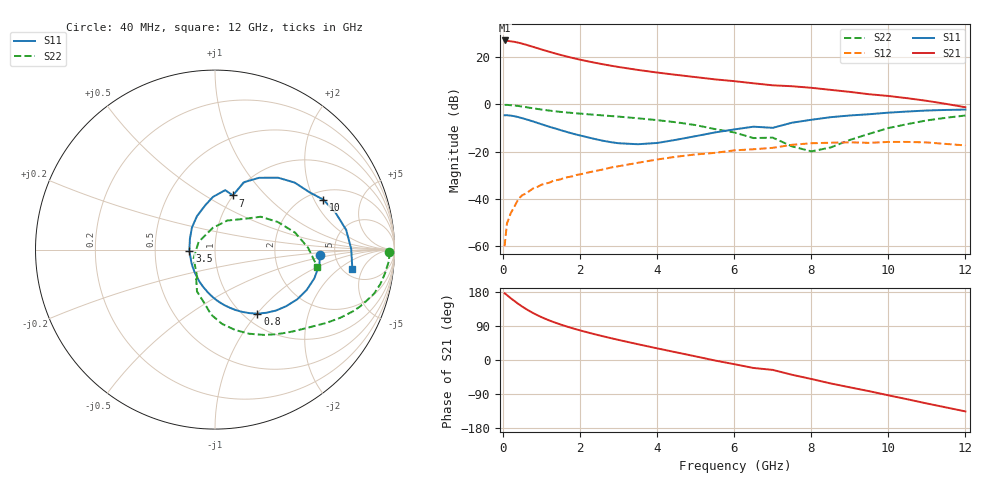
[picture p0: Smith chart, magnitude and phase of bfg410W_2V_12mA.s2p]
! Filename: 212bfg410.001
! BFG410W Field B1
! V1=8.820E-001V,V2=2.000E+000V, I1=1.910E-004A, I2=1.201E-002A
# GHz  S  MA  R 50
!  S11  S21  S12  S22
!Freq(GHz)  Mag  Ang  Mag  Ang  Mag  Ang  Mag  Ang
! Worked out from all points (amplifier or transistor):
!   44 points, 40 MHz to 12 GHz, reference 50 ohm
!   highest |S21| = 27.0 dB at 40 MHz (marker M1)
!   |S21| within 3 dB of that: start of sweep to 838 MHz
!   unconditionally stable (mu >= 1): start of sweep to 41.29 MHz; 1.683 GHz to end of sweep
!   at 700 MHz: K = 0.58, MSG = 30.6 dB, |S12| = -36.5 dB
!   at 2.4 GHz: K = 1.16, MAG = 20.4 dB, |S12| = -28.2 dB
!   at 12 GHz: K = 1.51, MAG = 3.9 dB, |S12| = -17.4 dB
!   S11 on the Smith chart (normalised r, x): 40 MHz: 3.78, -0.37; 800 MHz: 1.15, -1.00; 3.5 GHz: 0.75, -0.01; 7 GHz: 1.00, +0.67; 10 GHz: 2.38, +2.38; 12 GHz: 6.01, -3.25
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0.04  0.585 -3.2  22.36 176.0  0.001 73.3  0.97 -0.7
0.1  0.588 -8.2  22.04 171.4  0.003 89.0  0.972 -3.5
0.2  0.576 -16.2  21.46 162.9  0.005 81.2  0.956 -8.1
0.3  0.558 -23.9  20.84 155.4  0.007 78.0  0.941 -11.8
0.4  0.535 -31.2  20.04 147.8  0.01 75.0  0.919 -15.6
0.5  0.507 -38.4  19.1 140.8  0.012 71.3  0.892 -18.6
0.6  0.481 -44.8  18.13 134.4  0.013 69.2  0.868 -21.4
0.8  0.428 -56.5  16.18 122.9  0.017 65.4  0.817 -26.4
1.1  0.356 -71.1  13.62 108.6  0.021 61.8  0.754 -32.2
1.4  0.3 -83.7  11.59 96.9  0.025 59.7  0.704 -37.0
1.8  0.241 -99.6  9.565 83.9  0.03 57.5  0.655 -42.7
2.2  0.2 -115.2  8.098 72.7  0.036 55.1  0.616 -48.4
2.8  0.158 -141.6  6.547 57.7  0.046 50.8  0.564 -57.1
3.5  0.143 -177.6  5.327 41.7  0.058 44.1  0.506 -67.9
4.5  0.178 136.2  4.184 20.1  0.078 31.7  0.416 -84.5
5.5  0.254 102.1  3.363 -1.3  0.094 16.5  0.299 -102.2
6.5  0.336 80.3  2.778 -21.0  0.112 2.2  0.193 -122.9
7  0.318 71.7  2.518 -26.1  0.12 5.9  0.197 -119.0
8.5  0.533 48.7  2.02 -61.8  0.154 -31.9  0.122 95.7
10  0.665 24.7  1.499 -93.2  0.16 -61.5  0.314 35.7
10.5  0.703 16.8  1.342 -103.7  0.16 -71.9  0.382 23.8
12  0.773 -8.1  0.865 -135.6  0.135 -109.2  0.579 -9.7
